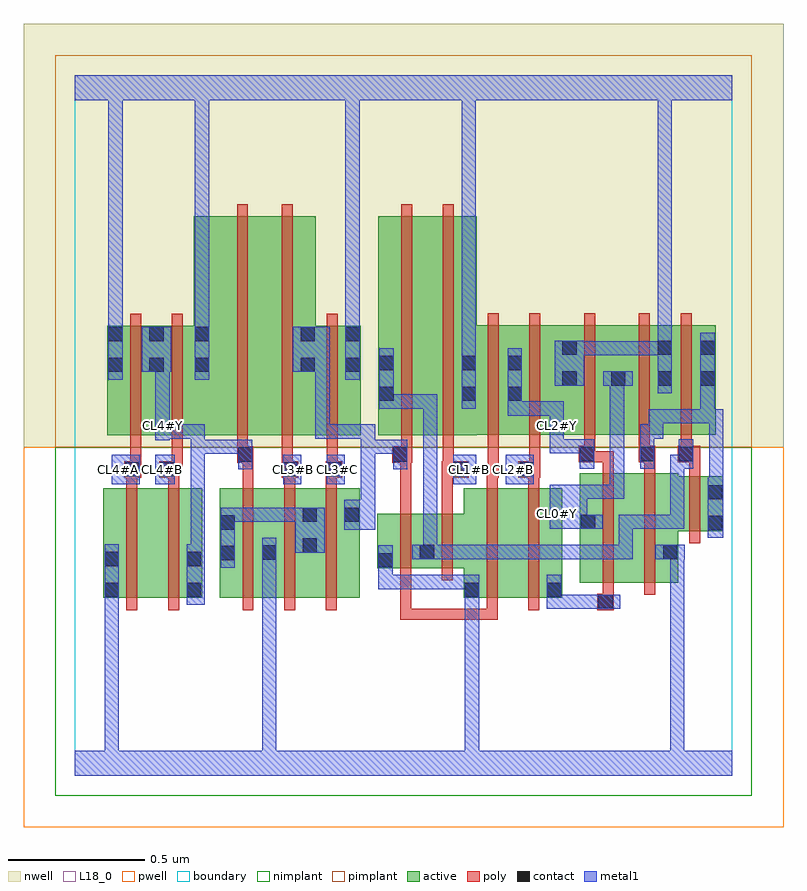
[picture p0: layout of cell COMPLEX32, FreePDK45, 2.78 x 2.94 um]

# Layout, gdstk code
import gdstk
lib = gdstk.Library(unit=1e-6, precision=1e-09)
def R(c, l, rs):  # rectangles x0, y0, x1, y1
    for r in rs: c.add(gdstk.rectangle(r[:2], r[2:], *l))
def A(c, l, x, y, w, h, nx, ny, dx, dy):  # array of equal rectangles
    R(c, l, [(x+i*dx, y+j*dy, x+i*dx+w, y+j*dy+h) for i in range(nx) for j in range(ny)])
active = (1, 0)
pwell = (2, 0)
nwell = (3, 0)
nimplant = (4, 0)
pimplant = (5, 0)
poly = (9, 0)
contact = (10, 0)
metal1 = (11, 0)
L18_0 = (18, 0)
boundary = (235, 0)

complex32 = lib.new_cell('COMPLEX32')
R(complex32, active, [(0.104,0.65,0.284,1.05), (0.104,0.65,0.164,1.05), (0.284,0.65,0.464,1.05), (0.404,0.65,0.464,1.05), (0.528,0.65,0.74,1.05), (0.68,0.65,0.74,1.05), (0.68,0.65,0.888,1.05), (0.828,0.65,1.04,1.05), (1.42,0.65,1.6,1.05), (1.42,0.65,1.48,0.758), (1.6,0.65,1.78,1.05), (1.72,0.65,1.78,0.948), (1.844,0.706,2.024,1.106), (1.844,0.706,1.904,1.106), (2.024,0.706,2.204,1.106), (0.528,0.756,0.588,1.05), (0.828,0.756,0.888,1.05), (0.98,0.756,1.04,1.05), (1.104,0.758,1.164,0.958), (1.104,0.758,1.316,0.958), (1.256,0.758,1.316,0.958), (1.256,0.758,1.48,0.958), (2.144,0.788,2.204,1.094), (2.144,0.894,2.368,1.094), (2.308,0.894,2.368,1.094), (0.118,1.244,0.178,1.644), (0.118,1.244,0.328,1.644), (0.268,1.244,0.328,1.644), (0.268,1.244,0.494,1.644), (0.434,1.244,0.494,1.644), (0.434,1.244,0.7,2.044), (0.7,1.244,0.88,2.044), (0.82,1.244,0.88,1.644), (0.82,1.244,1.044,1.644), (0.984,1.244,1.044,1.644), (1.108,1.244,1.288,2.044), (1.108,1.244,1.168,2.044), (1.288,1.244,1.468,2.044), (1.408,1.246,1.468,1.644), (1.408,1.246,1.636,1.646), (1.576,1.246,1.636,1.646), (1.576,1.246,1.836,1.646), (1.776,1.246,1.836,1.644), (1.776,1.246,2.014,1.646), (1.954,1.246,2.014,1.644), (1.954,1.246,2.184,1.646), (2.124,1.246,2.184,1.644), (2.124,1.246,2.34,1.646), (2.28,1.246,2.34,1.644)])
R(complex32, pwell, [(-0.188,-0.188,2.588,1.2)])
R(complex32, nwell, [(-0.188,1.2,2.588,2.748)])
R(complex32, nimplant, [(-0.072,-0.072,2.472,1.2)])
R(complex32, pimplant, [(-0.072,1.2,2.472,2.632)])
A(complex32, poly, 0.612, 0.606, 0.04, 0.488, 3, 1, 0.152, 0)
A(complex32, poly, 1.66, 1.202, 0.04, 0.488, 3, 1, 0.2, 0)
R(complex32, poly, [(1.188,0.57,1.228,0.61), (1.188,0.57,1.228,0.61), (1.188,0.57,1.228,0.61), (1.188,0.57,1.228,0.61), (1.188,0.57,1.228,0.61), (1.188,0.57,1.228,0.61), (1.188,0.57,1.228,0.61), (1.188,0.57,1.438,0.61), (1.188,0.57,1.228,0.754), (1.398,0.57,1.438,0.61), (1.398,0.57,1.438,0.61), (1.398,0.57,1.438,0.61), (1.398,0.57,1.544,0.61), (1.504,0.57,1.544,0.646), (1.504,0.57,1.544,0.61), (0.188,0.606,0.228,1.094), (0.34,0.606,0.38,1.094), (1.504,0.606,1.544,1.094), (1.656,0.606,1.696,1.094), (1.908,0.606,1.968,0.666), (1.928,0.626,1.968,0.702), (1.928,0.662,1.968,1.15), (2.08,0.662,2.12,1.15), (1.188,0.714,1.228,1.002), (1.34,0.714,1.38,1.002), (2.244,0.85,2.284,1.138), (1.188,0.962,1.228,1.184), (1.34,0.962,1.38,1.13), (0.188,1.054,0.228,1.13), (0.34,1.054,0.38,1.13), (0.612,1.054,0.652,1.184), (0.764,1.054,0.804,1.13), (0.916,1.054,0.956,1.13), (1.504,1.054,1.544,1.13), (1.656,1.054,1.696,1.13), (0.18,1.09,0.242,1.15), (0.188,1.09,0.228,1.13), (0.188,1.09,0.228,1.13), (0.308,1.09,0.38,1.15), (0.756,1.09,0.816,1.15), (0.764,1.09,0.804,1.13), (0.764,1.09,0.804,1.13), (0.916,1.09,0.976,1.15), (1.34,1.09,1.438,1.15), (1.504,1.09,1.544,1.13), (1.504,1.09,1.544,1.13), (1.504,1.09,1.548,1.13), (1.508,1.09,1.548,1.242), (1.62,1.09,1.7,1.15), (1.656,1.09,1.696,1.13), (1.656,1.09,1.696,1.13), (2.244,1.098,2.284,1.186), (0.202,1.11,0.242,1.24), (0.34,1.11,0.38,1.15), (0.34,1.11,0.394,1.15), (0.354,1.11,0.394,1.24), (0.756,1.11,0.796,1.24), (0.92,1.11,0.96,1.15), (0.92,1.11,0.96,1.15), (0.92,1.11,0.96,1.24), (1.344,1.11,1.384,1.15), (1.344,1.11,1.384,1.15), (1.344,1.11,1.384,1.24), (1.66,1.11,1.7,1.242), (1.928,1.11,1.968,1.186), (2.08,1.11,2.12,1.186), (0.592,1.144,0.652,1.204), (0.612,1.144,0.652,1.184), (0.612,1.144,0.652,1.184), (1.158,1.144,1.232,1.204), (1.188,1.144,1.228,1.184), (1.188,1.144,1.228,1.184), (1.84,1.146,1.9,1.206), (1.86,1.146,1.9,1.186), (1.86,1.146,1.968,1.186), (2.06,1.146,2.12,1.206), (2.08,1.146,2.12,1.186), (2.08,1.146,2.12,1.186), (2.202,1.146,2.284,1.206), (0.592,1.164,0.632,1.24), (1.192,1.164,1.232,1.24), (1.86,1.166,1.9,1.242), (2.06,1.166,2.1,1.242), (2.212,1.166,2.252,1.242), (2.212,1.166,2.252,1.206), (2.212,1.166,2.252,1.206), (0.202,1.2,0.242,1.688), (0.354,1.2,0.394,1.688), (0.592,1.2,0.632,2.088), (0.756,1.2,0.796,2.088), (0.92,1.2,0.96,1.688), (1.192,1.2,1.232,2.088), (1.344,1.2,1.384,2.088), (1.508,1.202,1.548,1.69), (2.212,1.202,2.252,1.69)])
R(complex32, contact, [(1.912,0.61,1.964,0.662), (0.108,0.654,0.16,0.706), (0.408,0.654,0.46,0.706), (1.424,0.654,1.476,0.706), (1.724,0.654,1.776,0.706), (1.108,0.762,1.16,0.814), (0.108,0.766,0.16,0.818), (0.408,0.766,0.46,0.818), (0.532,0.788,0.584,0.84), (0.684,0.79,0.736,0.842), (1.26,0.792,1.312,0.844), (2.148,0.792,2.2,0.844), (0.832,0.816,0.884,0.868), (2.312,0.898,2.364,0.95), (0.532,0.9,0.584,0.952), (1.848,0.902,1.9,0.954), (0.832,0.928,0.884,0.98), (0.984,0.928,1.036,0.98), (2.312,1.01,2.364,1.062), (0.184,1.094,0.236,1.146), (0.312,1.094,0.364,1.146), (0.76,1.094,0.812,1.146), (0.92,1.094,0.972,1.146), (1.382,1.094,1.434,1.146), (1.624,1.094,1.676,1.146), (0.596,1.148,0.648,1.2), (1.162,1.148,1.214,1.2), (1.844,1.15,1.896,1.202), (2.064,1.15,2.116,1.202), (2.206,1.15,2.258,1.202), (1.112,1.37,1.164,1.422), (1.412,1.37,1.464,1.422), (1.58,1.37,1.632,1.422), (1.78,1.426,1.832,1.478), (1.958,1.426,2.01,1.478), (2.128,1.426,2.18,1.478), (2.284,1.426,2.336,1.478), (0.122,1.476,0.174,1.528), (0.272,1.476,0.324,1.528), (0.438,1.476,0.49,1.528), (0.824,1.476,0.876,1.528), (0.988,1.476,1.04,1.528), (1.112,1.482,1.164,1.534), (1.412,1.482,1.464,1.534), (1.58,1.482,1.632,1.534), (1.78,1.538,1.832,1.59), (2.128,1.538,2.18,1.59), (2.284,1.538,2.336,1.59), (0.122,1.588,0.174,1.64), (0.272,1.588,0.324,1.64), (0.438,1.588,0.49,1.64), (0.824,1.588,0.876,1.64), (0.988,1.588,1.04,1.64)])
R(complex32, metal1, [(0,0,2.4,0.092), (0.108,0.04,0.16,0.092), (0.108,0.04,0.16,0.092), (0.108,0.04,0.16,0.678), (0.684,0.04,0.736,0.092), (0.684,0.04,0.736,0.092), (0.684,0.04,0.736,0.092), (0.684,0.04,0.736,0.092), (0.684,0.04,0.736,0.092), (0.684,0.04,0.736,0.092), (0.684,0.04,0.736,0.092), (0.684,0.04,0.736,0.092), (0.684,0.04,0.736,0.092), (0.684,0.04,0.736,0.092), (0.684,0.04,0.736,0.092), (0.684,0.04,0.736,0.092), (0.684,0.04,0.736,0.814), (1.424,0.04,1.476,0.092), (1.424,0.04,1.476,0.092), (1.424,0.04,1.476,0.092), (1.424,0.04,1.476,0.092), (1.424,0.04,1.476,0.678), (2.174,0.04,2.226,0.092), (2.174,0.04,2.226,0.092), (2.174,0.04,2.226,0.092), (2.174,0.04,2.226,0.092), (2.174,0.04,2.226,0.844), (1.724,0.61,1.776,0.662), (1.724,0.61,1.786,0.662), (1.724,0.61,1.776,0.678), (1.734,0.61,1.786,0.662), (1.734,0.61,1.936,0.662), (1.884,0.61,1.992,0.662), (0.108,0.626,0.16,0.846), (0.108,0.626,0.16,0.678), (0.108,0.626,0.16,0.678), (0.108,0.626,0.16,0.678), (0.108,0.626,0.16,0.678), (0.108,0.626,0.16,0.678), (0.108,0.626,0.16,0.678), (0.108,0.626,0.16,0.678), (0.108,0.626,0.16,0.678), (0.108,0.626,0.16,0.678), (0.108,0.626,0.16,0.678), (0.408,0.626,0.474,0.846), (1.424,0.626,1.476,0.678), (1.424,0.626,1.476,0.678), (1.424,0.626,1.476,0.678), (1.424,0.626,1.476,0.678), (1.424,0.626,1.476,0.678), (1.424,0.626,1.476,0.678), (1.424,0.626,1.476,0.678), (1.424,0.626,1.476,0.678), (1.424,0.626,1.476,0.734), (1.724,0.626,1.776,0.734), (1.108,0.682,1.206,0.734), (1.108,0.682,1.16,0.842), (1.154,0.682,1.206,0.734), (1.154,0.682,1.324,0.734), (1.272,0.682,1.324,0.734), (1.272,0.682,1.324,0.734), (1.272,0.682,1.324,0.734), (1.272,0.682,1.324,0.734), (1.272,0.682,1.324,0.734), (1.272,0.682,1.324,0.734), (1.272,0.682,1.324,0.734), (1.272,0.682,1.476,0.734), (0.532,0.76,0.584,0.98), (0.684,0.762,0.736,0.87), (1.232,0.792,1.34,0.844), (1.272,0.792,1.324,1.394), (1.288,0.792,1.34,0.844), (1.288,0.792,1.34,0.844), (1.288,0.792,1.45,0.844), (1.398,0.792,1.45,0.844), (1.398,0.792,1.45,0.844), (1.398,0.792,1.45,0.844), (1.398,0.792,1.586,0.844), (1.534,0.792,1.586,0.844), (1.534,0.792,1.586,0.844), (1.534,0.792,1.586,0.844), (1.534,0.792,1.762,0.844), (1.71,0.792,1.762,0.844), (1.71,0.792,1.762,0.844), (1.71,0.792,1.762,0.844), (1.71,0.792,1.786,0.844), (1.734,0.792,1.786,0.844), (1.734,0.792,1.896,0.844), (1.844,0.792,1.896,0.844), (1.844,0.792,2.038,0.844), (1.986,0.792,2.038,0.954), (1.986,0.792,2.038,0.844), (2.12,0.792,2.228,0.844), (2.174,0.792,2.226,0.844), (2.174,0.792,2.226,0.844), (2.174,0.792,2.226,0.844), (2.174,0.792,2.226,0.844), (2.174,0.792,2.226,0.844), (2.174,0.792,2.226,0.844), (2.174,0.792,2.226,0.844), (2.174,0.792,2.226,0.844), (0.422,0.794,0.474,1.228), (0.804,0.816,0.912,0.98), (2.312,0.87,2.368,1.09), (0.984,0.9,1.096,1.008), (1.734,0.902,1.872,1.064), (1.82,0.902,1.872,0.954), (1.82,0.902,1.928,0.954), (1.986,0.902,2.038,0.954), (1.986,0.902,2.038,0.954), (1.986,0.902,2.038,0.954), (1.986,0.902,2.226,0.954), (2.174,0.902,2.226,0.954), (2.174,0.902,2.226,1.174), (0.532,0.928,0.584,0.98), (0.532,0.928,0.584,0.98), (0.532,0.928,0.738,0.98), (0.686,0.928,0.738,0.98), (0.686,0.928,0.738,0.98), (0.686,0.928,0.738,0.98), (0.686,0.928,0.856,0.98), (1.044,0.956,1.096,1.008), (1.044,0.956,1.096,1.008), (1.044,0.956,1.096,1.228), (1.82,1.012,1.896,1.064), (1.844,1.012,1.896,1.064), (1.844,1.012,2.006,1.064), (1.954,1.012,2.006,1.064), (1.954,1.012,2.006,1.478), (2.316,1.038,2.368,1.34), (2.316,1.038,2.368,1.09), (2.316,1.038,2.368,1.09), (0.134,1.066,0.236,1.174), (0.294,1.066,0.364,1.174), (0.76,1.066,0.826,1.174), (0.92,1.066,0.986,1.174), (1.382,1.066,1.466,1.174), (1.574,1.066,1.676,1.174), (0.596,1.12,0.648,1.228), (1.162,1.12,1.214,1.228), (1.844,1.122,1.896,1.23), (2.064,1.122,2.116,1.284), (2.174,1.122,2.226,1.174), (2.174,1.122,2.258,1.174), (2.206,1.122,2.258,1.23), (0.422,1.176,0.474,1.228), (0.422,1.176,0.474,1.228), (0.422,1.176,0.474,1.228), (0.422,1.176,0.474,1.228), (0.422,1.176,0.474,1.284), (0.422,1.176,0.648,1.228), (1.044,1.176,1.096,1.228), (1.044,1.176,1.096,1.228), (1.044,1.176,1.096,1.284), (1.044,1.176,1.214,1.228), (1.734,1.178,1.786,1.23), (1.734,1.178,1.786,1.23), (1.734,1.178,1.896,1.23), (1.734,1.178,1.786,1.334), (0.294,1.226,0.346,1.334), (0.294,1.232,0.346,1.284), (0.294,1.232,0.346,1.284), (0.294,1.232,0.474,1.284), (0.878,1.232,0.93,1.284), (0.878,1.232,0.986,1.284), (0.878,1.232,0.93,1.528), (0.934,1.232,0.986,1.284), (0.934,1.232,1.096,1.284), (2.064,1.232,2.148,1.284), (2.096,1.232,2.148,1.34), (0.294,1.282,0.346,1.528), (1.734,1.282,1.786,1.368), (2.096,1.288,2.336,1.34), (2.284,1.288,2.336,1.45), (2.284,1.288,2.336,1.34), (2.284,1.288,2.336,1.34), (2.284,1.288,2.368,1.34), (1.58,1.316,1.786,1.368), (1.58,1.316,1.632,1.394), (1.734,1.316,1.786,1.368), (1.112,1.342,1.164,1.562), (1.112,1.342,1.206,1.394), (1.154,1.342,1.206,1.394), (1.154,1.342,1.324,1.394), (1.272,1.342,1.324,1.394), (1.272,1.342,1.324,1.394), (1.272,1.342,1.324,1.394), (1.272,1.342,1.324,1.394), (1.272,1.342,1.324,1.394), (1.412,1.342,1.464,1.562), (1.58,1.342,1.632,1.562), (1.58,1.342,1.632,1.394), (2.128,1.398,2.18,1.618), (2.284,1.398,2.336,1.618), (1.752,1.426,1.86,1.59), (1.93,1.426,2.038,1.478), (1.954,1.426,2.006,1.478), (1.954,1.426,2.006,1.478), (0.122,1.448,0.174,1.668), (0.438,1.448,0.49,1.668), (0.988,1.448,1.04,1.668), (0.244,1.476,0.352,1.64), (0.796,1.476,0.93,1.64), (1.412,1.51,1.464,1.562), (1.412,1.51,1.464,1.562), (1.412,1.51,1.464,1.562), (1.412,1.51,1.464,1.562), (1.412,1.51,1.464,1.562), (1.412,1.51,1.464,1.562), (1.412,1.51,1.464,2.52), (1.808,1.536,1.896,1.588), (1.844,1.536,1.896,1.588), (1.844,1.536,2.038,1.588), (1.986,1.536,2.038,1.588), (1.986,1.536,2.148,1.588), (2.096,1.536,2.148,1.588), (2.096,1.536,2.18,1.588), (2.128,1.566,2.18,1.618), (2.128,1.566,2.18,1.618), (2.128,1.566,2.18,1.618), (2.128,1.566,2.18,1.618), (2.128,1.566,2.18,1.618), (2.128,1.566,2.18,1.618), (2.128,1.566,2.18,2.52), (0.122,1.616,0.174,1.668), (0.122,1.616,0.174,1.668), (0.122,1.616,0.174,1.668), (0.122,1.616,0.174,1.668), (0.122,1.616,0.174,1.668), (0.122,1.616,0.174,1.668), (0.122,1.616,0.174,1.668), (0.122,1.616,0.174,1.668), (0.122,1.616,0.174,1.668), (0.122,1.616,0.174,1.668), (0.122,1.616,0.174,2.52), (0.438,1.616,0.49,1.668), (0.438,1.616,0.49,1.668), (0.438,1.616,0.49,1.668), (0.438,1.616,0.49,1.668), (0.438,1.616,0.49,1.668), (0.438,1.616,0.49,1.668), (0.438,1.616,0.49,2.52), (0.988,1.616,1.04,2.52), (0,2.468,2.4,2.56), (0.122,2.468,0.174,2.52), (0.122,2.468,0.174,2.52), (0.122,2.468,0.174,2.52), (0.122,2.468,0.174,2.52), (0.122,2.468,0.174,2.52), (0.122,2.468,0.174,2.52), (0.438,2.468,0.49,2.52), (0.438,2.468,0.49,2.52), (0.988,2.468,1.04,2.52), (0.988,2.468,1.04,2.52), (0.988,2.468,1.04,2.52), (0.988,2.468,1.04,2.52), (0.988,2.468,1.04,2.52), (0.988,2.468,1.04,2.52), (0.988,2.468,1.04,2.52), (0.988,2.468,1.04,2.52), (0.988,2.468,1.04,2.52), (0.988,2.468,1.04,2.52), (0.988,2.468,1.04,2.52), (0.988,2.468,1.04,2.52), (0.988,2.468,1.04,2.52), (0.988,2.468,1.04,2.52), (0.988,2.468,1.04,2.52), (0.988,2.468,1.04,2.52), (1.412,2.468,1.464,2.52), (1.412,2.468,1.464,2.52), (2.128,2.468,2.18,2.52), (2.128,2.468,2.18,2.52), (2.128,2.468,2.18,2.52), (2.128,2.468,2.18,2.52), (2.128,2.468,2.18,2.52), (2.128,2.468,2.18,2.52), (2.128,2.468,2.18,2.52), (2.128,2.468,2.18,2.52), (2.128,2.468,2.18,2.52), (2.128,2.468,2.18,2.52)])
R(complex32, L18_0, [(0,0,2.4,0.092), (0.108,0.04,0.16,0.092), (0.108,0.04,0.16,0.092), (0.108,0.04,0.16,0.678), (0.684,0.04,0.736,0.092), (0.684,0.04,0.736,0.092), (0.684,0.04,0.736,0.092), (0.684,0.04,0.736,0.092), (0.684,0.04,0.736,0.092), (0.684,0.04,0.736,0.092), (0.684,0.04,0.736,0.092), (0.684,0.04,0.736,0.092), (0.684,0.04,0.736,0.092), (0.684,0.04,0.736,0.092), (0.684,0.04,0.736,0.092), (0.684,0.04,0.736,0.092), (0.684,0.04,0.736,0.814), (1.424,0.04,1.476,0.092), (1.424,0.04,1.476,0.092), (1.424,0.04,1.476,0.092), (1.424,0.04,1.476,0.092), (1.424,0.04,1.476,0.678), (2.174,0.04,2.226,0.092), (2.174,0.04,2.226,0.092), (2.174,0.04,2.226,0.092), (2.174,0.04,2.226,0.092), (2.174,0.04,2.226,0.844), (1.724,0.61,1.776,0.662), (1.724,0.61,1.776,0.678), (1.724,0.61,1.786,0.662), (1.734,0.61,1.786,0.662), (1.734,0.61,1.936,0.662), (1.884,0.61,1.992,0.662), (0.108,0.626,0.16,0.678), (0.108,0.626,0.16,0.678), (0.108,0.626,0.16,0.678), (0.108,0.626,0.16,0.678), (0.108,0.626,0.16,0.678), (0.108,0.626,0.16,0.678), (0.108,0.626,0.16,0.678), (0.108,0.626,0.16,0.678), (0.108,0.626,0.16,0.678), (0.108,0.626,0.16,0.678), (0.108,0.626,0.16,0.846), (0.408,0.626,0.474,0.846), (1.424,0.626,1.476,0.678), (1.424,0.626,1.476,0.678), (1.424,0.626,1.476,0.678), (1.424,0.626,1.476,0.678), (1.424,0.626,1.476,0.678), (1.424,0.626,1.476,0.678), (1.424,0.626,1.476,0.678), (1.424,0.626,1.476,0.678), (1.424,0.626,1.476,0.734), (1.724,0.626,1.776,0.734), (1.108,0.682,1.16,0.842), (1.108,0.682,1.206,0.734), (1.154,0.682,1.206,0.734), (1.154,0.682,1.324,0.734), (1.272,0.682,1.324,0.734), (1.272,0.682,1.324,0.734), (1.272,0.682,1.324,0.734), (1.272,0.682,1.324,0.734), (1.272,0.682,1.324,0.734), (1.272,0.682,1.324,0.734), (1.272,0.682,1.324,0.734), (1.272,0.682,1.476,0.734), (0.684,0.762,0.736,0.87), (2.12,0.792,2.228,0.844), (2.174,0.792,2.226,0.844), (2.174,0.792,2.226,0.844), (2.174,0.792,2.226,0.844), (2.174,0.792,2.226,0.844), (2.174,0.792,2.226,0.844), (2.174,0.792,2.226,0.844), (2.174,0.792,2.226,0.844), (2.174,0.792,2.226,0.844), (0.422,0.794,0.474,1.228), (1.734,0.902,1.872,1.064), (1.82,0.902,1.872,0.954), (1.82,0.902,1.928,0.954), (1.734,0.934,1.786,0.986), (1.82,1.012,1.896,1.064), (1.844,1.012,1.896,1.064), (1.844,1.012,2.006,1.064), (1.954,1.012,2.006,1.064), (1.954,1.012,2.006,1.478), (0.134,1.066,0.236,1.174), (0.294,1.066,0.364,1.174), (0.76,1.066,0.826,1.174), (0.92,1.066,0.986,1.174), (1.382,1.066,1.466,1.174), (1.574,1.066,1.676,1.174), (0.134,1.094,0.186,1.146), (0.294,1.094,0.346,1.146), (0.774,1.094,0.826,1.146), (0.934,1.094,0.986,1.146), (1.414,1.094,1.466,1.146), (1.574,1.094,1.626,1.146), (0.596,1.12,0.648,1.228), (1.844,1.122,1.896,1.23), (0.422,1.176,0.474,1.228), (0.422,1.176,0.474,1.228), (0.422,1.176,0.474,1.228), (0.422,1.176,0.474,1.228), (0.422,1.176,0.474,1.284), (0.422,1.176,0.648,1.228), (1.734,1.178,1.786,1.23), (1.734,1.178,1.786,1.23), (1.734,1.178,1.786,1.334), (1.734,1.178,1.896,1.23), (0.294,1.226,0.346,1.334), (0.294,1.232,0.346,1.284), (0.294,1.232,0.346,1.284), (0.294,1.232,0.474,1.284), (0.294,1.254,0.346,1.306), (1.734,1.254,1.786,1.306), (0.294,1.282,0.346,1.528), (1.734,1.282,1.786,1.368), (1.58,1.316,1.632,1.394), (1.58,1.316,1.786,1.368), (1.734,1.316,1.786,1.368), (1.412,1.342,1.464,1.562), (1.58,1.342,1.632,1.394), (1.58,1.342,1.632,1.562), (2.128,1.398,2.18,1.618), (1.752,1.426,1.86,1.59), (1.93,1.426,2.038,1.478), (1.954,1.426,2.006,1.478), (1.954,1.426,2.006,1.478), (0.122,1.448,0.174,1.668), (0.438,1.448,0.49,1.668), (0.988,1.448,1.04,1.668), (0.244,1.476,0.352,1.64), (1.412,1.51,1.464,1.562), (1.412,1.51,1.464,1.562), (1.412,1.51,1.464,1.562), (1.412,1.51,1.464,1.562), (1.412,1.51,1.464,1.562), (1.412,1.51,1.464,1.562), (1.412,1.51,1.464,2.52), (1.808,1.536,1.896,1.588), (1.844,1.536,1.896,1.588), (1.844,1.536,2.038,1.588), (1.986,1.536,2.038,1.588), (1.986,1.536,2.148,1.588), (2.096,1.536,2.148,1.588), (2.096,1.536,2.18,1.588), (2.128,1.566,2.18,1.618), (2.128,1.566,2.18,1.618), (2.128,1.566,2.18,1.618), (2.128,1.566,2.18,1.618), (2.128,1.566,2.18,1.618), (2.128,1.566,2.18,1.618), (2.128,1.566,2.18,2.52), (0.122,1.616,0.174,1.668), (0.122,1.616,0.174,1.668), (0.122,1.616,0.174,1.668), (0.122,1.616,0.174,1.668), (0.122,1.616,0.174,1.668), (0.122,1.616,0.174,1.668), (0.122,1.616,0.174,1.668), (0.122,1.616,0.174,1.668), (0.122,1.616,0.174,1.668), (0.122,1.616,0.174,1.668), (0.122,1.616,0.174,2.52), (0.438,1.616,0.49,1.668), (0.438,1.616,0.49,1.668), (0.438,1.616,0.49,1.668), (0.438,1.616,0.49,1.668), (0.438,1.616,0.49,1.668), (0.438,1.616,0.49,1.668), (0.438,1.616,0.49,2.52), (0.988,1.616,1.04,2.52), (0,2.468,2.4,2.56), (0.122,2.468,0.174,2.52), (0.122,2.468,0.174,2.52), (0.122,2.468,0.174,2.52), (0.122,2.468,0.174,2.52), (0.122,2.468,0.174,2.52), (0.122,2.468,0.174,2.52), (0.438,2.468,0.49,2.52), (0.438,2.468,0.49,2.52), (0.988,2.468,1.04,2.52), (0.988,2.468,1.04,2.52), (0.988,2.468,1.04,2.52), (0.988,2.468,1.04,2.52), (0.988,2.468,1.04,2.52), (0.988,2.468,1.04,2.52), (0.988,2.468,1.04,2.52), (0.988,2.468,1.04,2.52), (0.988,2.468,1.04,2.52), (0.988,2.468,1.04,2.52), (0.988,2.468,1.04,2.52), (0.988,2.468,1.04,2.52), (0.988,2.468,1.04,2.52), (0.988,2.468,1.04,2.52), (0.988,2.468,1.04,2.52), (0.988,2.468,1.04,2.52), (1.412,2.468,1.464,2.52), (1.412,2.468,1.464,2.52), (2.128,2.468,2.18,2.52), (2.128,2.468,2.18,2.52), (2.128,2.468,2.18,2.52), (2.128,2.468,2.18,2.52), (2.128,2.468,2.18,2.52), (2.128,2.468,2.18,2.52), (2.128,2.468,2.18,2.52), (2.128,2.468,2.18,2.52), (2.128,2.468,2.18,2.52), (2.128,2.468,2.18,2.52)])
R(complex32, boundary, [(0,0,2.4,2.56)])
complex32.add(gdstk.Label('CL0#Y', (1.76,0.96), layer=11, texttype=0))
complex32.add(gdstk.Label('CL1#B', (1.44,1.12), layer=11, texttype=0))
complex32.add(gdstk.Label('CL2#B', (1.6,1.12), layer=11, texttype=0))
complex32.add(gdstk.Label('CL2#Y', (1.76,1.28), layer=11, texttype=0))
complex32.add(gdstk.Label('CL3#B', (0.8,1.12), layer=11, texttype=0))
complex32.add(gdstk.Label('CL3#C', (0.96,1.12), layer=11, texttype=0))
complex32.add(gdstk.Label('CL4#A', (0.16,1.12), layer=11, texttype=0))
complex32.add(gdstk.Label('CL4#B', (0.32,1.12), layer=11, texttype=0))
complex32.add(gdstk.Label('CL4#Y', (0.32,1.28), layer=11, texttype=0))

lib.write_gds('COMPLEX32.gds')
